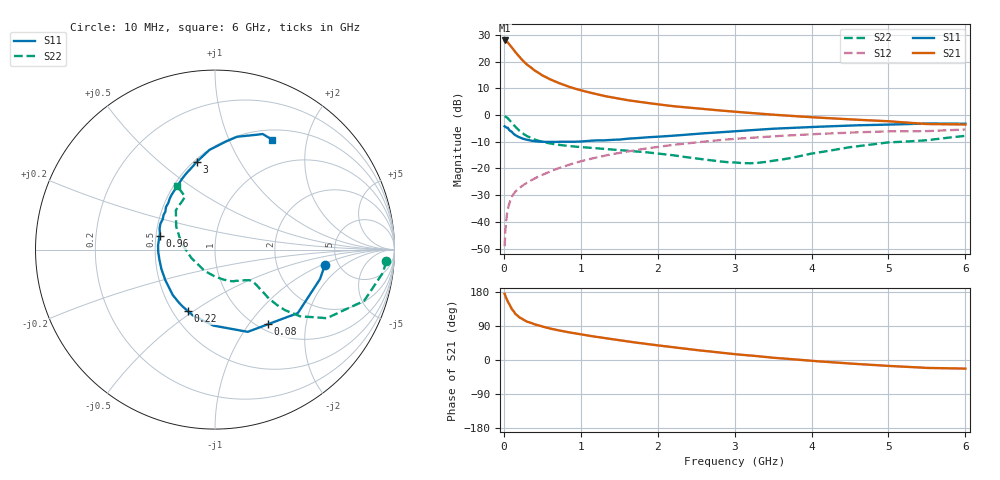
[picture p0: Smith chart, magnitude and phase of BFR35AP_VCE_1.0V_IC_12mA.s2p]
! Infineon Technologies  Discrete & RF Semiconductors
! BFR35AP
! VCE =  1.0 V,  IC =  12 mA
! Common Emitter S-Parameters:  Nov 2015
# GHz  S  MA  R  50
!  f  S11  S21  S12  S22
! GHz  MAG  ANG  MAG  ANG  MAG  ANG  MAG  ANG
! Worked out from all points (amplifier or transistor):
!   210 points, 10 MHz to 6 GHz, reference 50 ohm
!   highest |S21| = 28.0 dB at 10 MHz (marker M1)
!   |S21| within 3 dB of that: start of sweep to 114.7 MHz
!   unconditionally stable (mu >= 1): 412.4 MHz to end of sweep
!   at 185 MHz: K = 0.66, MSG = 25.1 dB, |S12| = -27.7 dB
!   at 1.52 GHz: K = 1.17, MAG = 7.6 dB, |S12| = -14.1 dB
!   at 6 GHz: K = 1.04, MAG = -0.2 dB, |S12| = -5.4 dB
!   S11 on the Smith chart (normalised r, x): 10 MHz: 3.90, -1.10; 80 MHz: 1.10, -1.24; 220 MHz: 0.60, -0.48; 960 MHz: 0.52, +0.09; 3 GHz: 0.52, +0.67; 6 GHz: 0.62, +1.46
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0.01  0.6179 -8.1  25.11 174.6  0.0035 86.2  0.9572 -3.9
0.02  0.6079 -15.6  24.91 169.0  0.0069 80.3  0.9432 -8.0
0.05  0.5814 -37.5  23.22 154.3  0.0169 73.4  0.879 -18.9
0.08  0.5097 -54.8  20.4 143.8  0.0242 67.1  0.7856 -25.9
0.1  0.4931 -68.3  18.99 135.3  0.0291 64.7  0.7312 -31.5
0.15  0.4235 -91.2  15.18 121.6  0.0369 59.9  0.6024 -38.1
0.2  0.3873 -108.4  12.44 112.9  0.043 58.7  0.5141 -40.9
0.22  0.3749 -113.5  11.59 110.5  0.0452 58.7  0.4886 -41.3
0.26  0.3579 -124.0  10.06 105.4  0.0496 58.9  0.4413 -42.0
0.3  0.3455 -133.1  8.87 101.3  0.0541 59.7  0.4049 -42.2
0.4  0.3249 -148.4  6.888 94.2  0.065 61.0  0.3485 -41.4
0.5  0.3176 -159.9  5.573 88.2  0.0759 62.3  0.3147 -40.7
0.6  0.3148 -169.8  4.703 83.1  0.0883 63.0  0.2946 -40.3
0.96  0.3184 166.0  3.036 69.1  0.1315 62.3  0.2549 -42.0
1.02  0.3221 162.6  2.873 67.0  0.1387 61.9  0.251 -42.7
1.4  0.3453 146.1  2.154 55.2  0.1844 58.7  0.2282 -49.3
2.02  0.3964 125.7  1.582 38.1  0.256 51.1  0.1893 -66.2
3  0.4988 101.9  1.159 15.4  0.3591 37.5  0.1298 -119.2
3.1  0.5093 100.0  1.129 13.7  0.3671 35.9  0.1262 -127.6
4.1  0.6069 84.0  0.897 -3.7  0.4452 21.9  0.2004 164.3
5.1  0.6705 71.9  0.75 -16.6  0.4972 8.2  0.3129 131.6
6  0.6907 62.6  0.668 -22.7  0.5379 -1.3  0.4094 120.8
